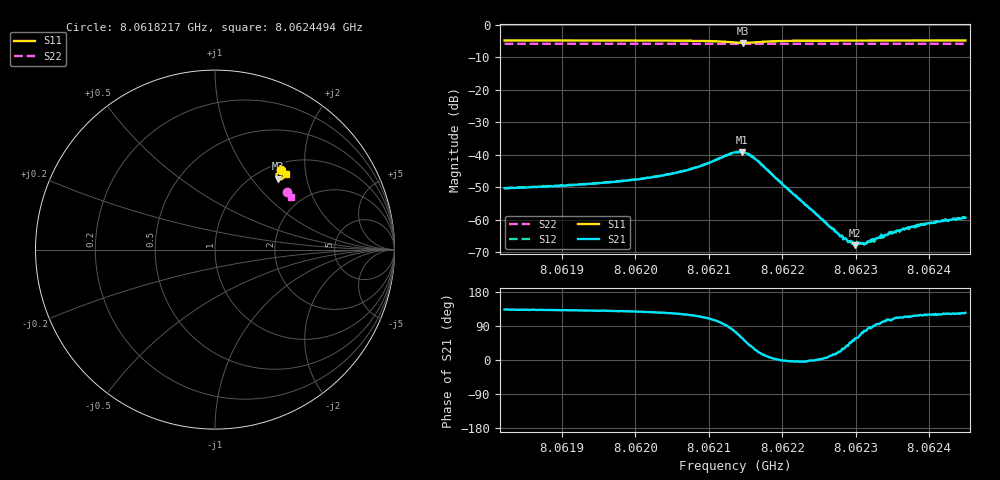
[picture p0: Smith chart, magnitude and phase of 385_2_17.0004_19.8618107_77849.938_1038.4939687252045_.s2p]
#  HZ  S  RI  R  50.00
! Rohde & Schwarz Vector Network Analyzer
! Rohde-Schwarz,ZNB20-2Port,1311601062101988,3.16
! Created: UTC 3/20/2024, 11:09:18 PM
! freq[Hz]  re:S11  im:S11  re:S21  im:S21  re:S12  im:S12  re:S22  im:S22
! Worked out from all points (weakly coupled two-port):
!   401 points, 8.0618217 GHz to 8.0624494 GHz, reference 50 ohm
!   highest |S21| = -39.17 dB at 8.0621449 GHz (marker M1); lowest = -67.8 dB at 8.0622987 GHz (marker M2)
!   lowest |S11| = -5.5 dB at 8.0621465 GHz (marker M3), VSWR 3.24, Z = 62.2 + j68.4 ohm
!   |S11| at or under -10 dB: nowhere
!   |S22| runs from -5.9 to -5.8 dB; largest |S21 - S12| = 0.00082
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8.06182171e9  0.3657 0.4452  -0.00208 0.00222  -0.00197 0.00238  0.3985 0.3224
8.06192684e9  0.373 0.4387  -0.00227 0.00264  -0.00211 0.00278  0.4024 0.3171
8.06197705e9  0.3765 0.4349  -0.00244 0.00303  -0.00229 0.00316  0.4042 0.3146
8.06203197e9  0.3813 0.4289  -0.00269 0.00383  -0.0025 0.00401  0.4064 0.3116
8.06208375e9  0.3857 0.4179  -0.00281 0.00577  -0.00249 0.00602  0.4082 0.3087
8.06213553e9  0.3657 0.3915  0.00292 0.0105  0.0035 0.0103  0.4087 0.3054
8.06214495e9  0.3525 0.3945  0.00577 0.00937  0.00633 0.00911  0.4086 0.305
8.06214652e9  0.3504 0.396  0.00615 0.00896  0.00677 0.00862  0.4083 0.3052
8.06215593e9  0.3425 0.4077  0.00776 0.00618  0.00822 0.0057  0.4086 0.3053
8.06216535e9  0.3428 0.4198  0.00752 0.00332  0.00783 0.00294  0.4091 0.3055
8.06219987e9  0.3604 0.4354  0.00352 -5.69e-05  0.00355 -0.000283  0.4112 0.3043
8.06224067e9  0.3723 0.4346  0.00139 -3.33e-05  0.00139 -0.000125  0.4132 0.3021
8.06227519e9  0.3778 0.4323  0.000582 0.0002  0.0006 0.000129  0.4145 0.3003
8.06228617e9  0.3793 0.4315  0.000424 0.000295  0.000419 0.000244  0.415 0.2997
8.06229872e9  0.3807 0.4308  0.00022 0.00034  0.000303 0.000347  0.4154 0.299
8.06230971e9  0.3819 0.4301  0.00014 0.000404  0.000153 0.000407  0.4157 0.2983
8.06233795e9  0.3846 0.4282  -0.000107 0.000538  -8.36e-05 0.000525  0.4168 0.2969
8.0623458e9  0.3853 0.4277  -0.000177 0.000584  -0.000139 0.000626  0.417 0.2967
8.06237404e9  0.3876 0.426  -0.000323 0.000692  -0.000279 0.000715  0.418 0.2952
8.0623913e9  0.3888 0.425  -0.000391 0.000742  -0.000353 0.000756  0.4188 0.2942
8.06241955e9  0.3908 0.4234  -0.000509 0.000803  -0.000475 0.00086  0.4198 0.2926
8.06244936e9  0.3928 0.4217  -0.000607 0.000883  -0.000537 0.000907  0.4208 0.2912
